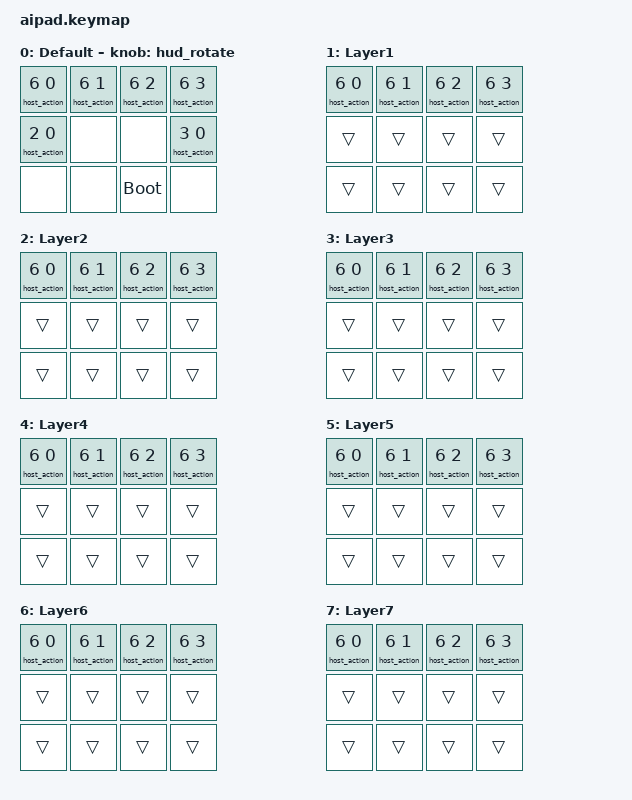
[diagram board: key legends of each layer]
#include <behaviors.dtsi>
#include <behaviors/host_action.dtsi>
#include <dt-bindings/zmk/keys.h>

/ {
    keymap {
        compatible = "zmk,keymap";

        default_layer {
            display-name = "Default";
            bindings = <
                /* Row 0 sits under the four ScreenKeys. host_action 6 makes
                 * the AI session on this ScreenKey the operation target; the
                 * value is the display slot number. The packet format is
                 * unchanged and the host interprets the value. */
                &host_action 6 0    &host_action 6 1    &host_action 6 2    &host_action 6 3
                &host_action 2 0    &none               &none               &host_action 3 0
                /* RC(2,3) is the encoder position. The fitted EC12E1220301 has
                 * no push switch, so nothing ever reports there; the binding
                 * exists only to keep the 3x4 map complete. */
                &none               &none               &bootloader         &none
            >;

            sensor-bindings = <&hud_rotate>;
        };

        /* Layers 1..7 exist so the host can switch into them and so ZMK Studio
         * has something to edit: ZMK_KEYMAP_LAYERS_LEN comes from this keymap
         * and Studio can never add a layer beyond it.
         *
         * There is no layer key on this board - all eleven keys are taken - so
         * layers are activated by the host over APP_LAYER (0x30), which
         * CONFIG_RAWHID_APP_LAYER_CONTROL=y handles.
         *
         * The ScreenKey row is repeated verbatim on every layer instead of
         * being left transparent. Cycling the AI session on the screen you are
         * looking at has to keep working whatever layer the host has pushed,
         * and spelling it out means editing a lower layer in Studio cannot
         * silently take it away. Everything else is &trans so an unconfigured
         * layer behaves exactly like the layer below it.
         *
         * sensor-bindings is deliberately absent on these layers. &trans is a
         * key behavior and has no #sensor-binding-cells, so it cannot be used
         * for a sensor. A layer with no sensor binding leaves behavior_dev NULL
         * and zmk_keymap_sensor_event() walks down to the next layer, which is
         * the transparent behaviour we want: the encoder keeps falling through
         * to the default layer's &hud_rotate. */

        layer_1 {
            display-name = "Layer1";
            bindings = <
                &host_action 6 0    &host_action 6 1    &host_action 6 2    &host_action 6 3
                &trans              &trans              &trans              &trans
                &trans              &trans              &trans              &trans
            >;
        };

        layer_2 {
            display-name = "Layer2";
            bindings = <
                &host_action 6 0    &host_action 6 1    &host_action 6 2    &host_action 6 3
                &trans              &trans              &trans              &trans
                &trans              &trans              &trans              &trans
            >;
        };

        layer_3 {
            display-name = "Layer3";
            bindings = <
                &host_action 6 0    &host_action 6 1    &host_action 6 2    &host_action 6 3
                &trans              &trans              &trans              &trans
                &trans              &trans              &trans              &trans
            >;
        };

        layer_4 {
            display-name = "Layer4";
            bindings = <
                &host_action 6 0    &host_action 6 1    &host_action 6 2    &host_action 6 3
                &trans              &trans              &trans              &trans
                &trans              &trans              &trans              &trans
            >;
        };

        layer_5 {
            display-name = "Layer5";
            bindings = <
                &host_action 6 0    &host_action 6 1    &host_action 6 2    &host_action 6 3
                &trans              &trans              &trans              &trans
                &trans              &trans              &trans              &trans
            >;
        };

        layer_6 {
            display-name = "Layer6";
            bindings = <
                &host_action 6 0    &host_action 6 1    &host_action 6 2    &host_action 6 3
                &trans              &trans              &trans              &trans
                &trans              &trans              &trans              &trans
            >;
        };

        layer_7 {
            display-name = "Layer7";
            bindings = <
                &host_action 6 0    &host_action 6 1    &host_action 6 2    &host_action 6 3
                &trans              &trans              &trans              &trans
                &trans              &trans              &trans              &trans
            >;
        };
    };

    /* Definitions live here as usual. The Keylink runtime Combo engine takes
     * them as its read-only defaults; the overlay disables the node so ZMK's
     * built-in Combo listener is not generated alongside it. There is a
     * dedicated &bootloader key on this board, so no combo is defined by
     * default; add children here if you want runtime-editable combos. */
    combos {
        compatible = "zmk,combos";
    };

    behaviors {
        /* Encoder rotation moves the HUD's decision highlight. This board's
         * encoder A/B phases make ZMK report the physical directions in
         * reverse, so the bindings intentionally map ZMK CW to previous and
         * ZMK CCW to next. Only the default layer binds this sensor and upper
         * layers fall through to it. */
        hud_rotate: hud_rotate {
            compatible = "zmk,behavior-sensor-rotate";
            #sensor-binding-cells = <0>;
            bindings = <&host_action 4 0>, <&host_action 5 0>;  /* ZMK CW = previous, ZMK CCW = next */
        };
    };
};
